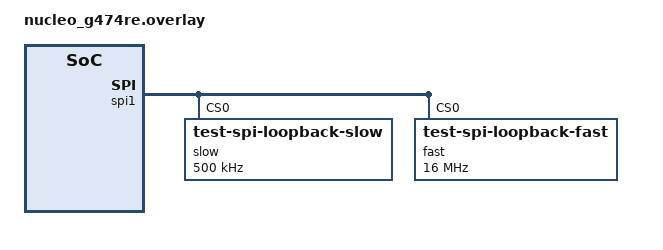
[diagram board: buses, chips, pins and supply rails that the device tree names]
/*
 * Copyright (c) 2020 Erwin Rol <erwin@erwinrol.com>
 *
 * SPDX-License-Identifier: Apache-2.0
 */

&rcc {
	/*
	* Reduce bus clock speed to be able
	* to reach SPI_LOOPBACK_SLOW_FREQ = 500000
	* with max prescaler 256
	*/
	apb2-prescaler = <2>;
};

&spi1 {
	dmas = <&dmamux1 0 11 (STM32_DMA_PERIPH_TX | STM32_DMA_PRIORITY_HIGH)
		&dmamux1 8 10 (STM32_DMA_PERIPH_RX | STM32_DMA_PRIORITY_HIGH)>;
	dma-names = "tx", "rx";
	slow@0 {
		compatible = "test-spi-loopback-slow";
		reg = <0>;
		spi-max-frequency = <500000>;
	};
	fast@0 {
		compatible = "test-spi-loopback-fast";
		reg = <0>;
		spi-max-frequency = <16000000>;
	};
};

&dma1 {
	status = "okay";
};

&dma2 {
	status = "okay";
};

&dmamux1 {
	status = "okay";
};
